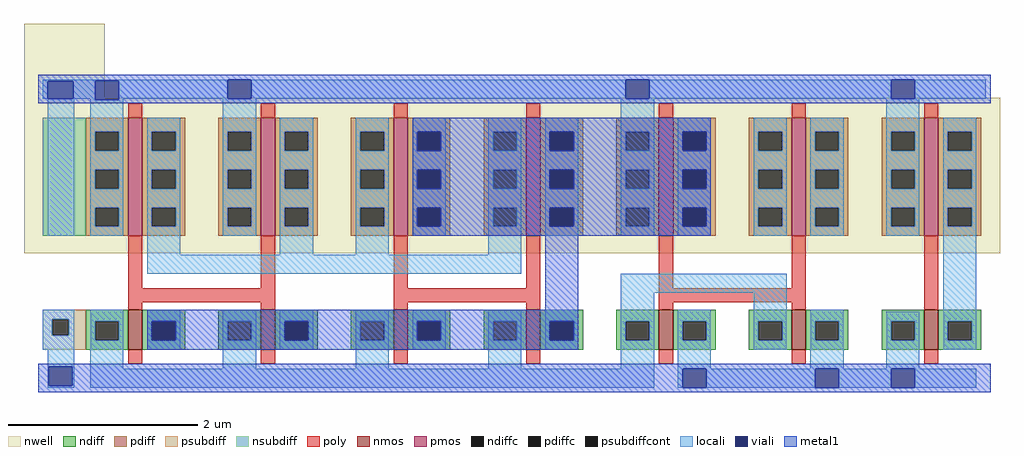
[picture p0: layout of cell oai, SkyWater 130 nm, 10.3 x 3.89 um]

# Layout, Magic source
magic
tech sky130A
<< nwell >>
rect -110 281 -25 359
rect -110 117 920 281
<< nmos >>
rect 0 15 15 57
rect 140 15 155 57
rect 280 15 295 57
rect 420 15 435 57
rect 560 15 575 57
rect 700 15 715 57
rect 840 15 855 57
<< pmos >>
rect 0 135 15 260
rect 140 135 155 260
rect 280 135 295 260
rect 420 135 435 260
rect 560 135 575 260
rect 700 135 715 260
rect 840 135 855 260
<< ndiff >>
rect -45 45 0 57
rect -45 25 -35 45
rect -10 25 0 45
rect -45 15 0 25
rect 15 45 60 57
rect 15 25 25 45
rect 50 25 60 45
rect 15 15 60 25
rect 95 45 140 57
rect 95 25 105 45
rect 130 25 140 45
rect 95 15 140 25
rect 155 45 200 57
rect 155 25 165 45
rect 190 25 200 45
rect 155 15 200 25
rect 235 45 280 57
rect 235 25 245 45
rect 270 25 280 45
rect 235 15 280 25
rect 295 45 340 57
rect 295 25 305 45
rect 330 25 340 45
rect 295 15 340 25
rect 375 45 420 57
rect 375 25 385 45
rect 410 25 420 45
rect 375 15 420 25
rect 435 45 480 57
rect 435 25 445 45
rect 470 25 480 45
rect 435 15 480 25
rect 515 45 560 57
rect 515 25 525 45
rect 550 25 560 45
rect 515 15 560 25
rect 575 45 620 57
rect 575 25 585 45
rect 610 25 620 45
rect 575 15 620 25
rect 655 45 700 57
rect 655 25 665 45
rect 690 25 700 45
rect 655 15 700 25
rect 715 45 760 57
rect 715 25 725 45
rect 750 25 760 45
rect 715 15 760 25
rect 795 45 840 57
rect 795 25 805 45
rect 830 25 840 45
rect 795 15 840 25
rect 855 45 900 57
rect 855 25 865 45
rect 890 25 900 45
rect 855 15 900 25
<< pdiff >>
rect -45 245 0 260
rect -45 225 -35 245
rect -10 225 0 245
rect -45 205 0 225
rect -45 185 -35 205
rect -10 185 0 205
rect -45 165 0 185
rect -45 145 -35 165
rect -10 145 0 165
rect -45 135 0 145
rect 15 245 60 260
rect 15 225 25 245
rect 50 225 60 245
rect 15 205 60 225
rect 15 185 25 205
rect 50 185 60 205
rect 15 165 60 185
rect 15 145 25 165
rect 50 145 60 165
rect 15 135 60 145
rect 95 245 140 260
rect 95 225 105 245
rect 130 225 140 245
rect 95 205 140 225
rect 95 185 105 205
rect 130 185 140 205
rect 95 165 140 185
rect 95 145 105 165
rect 130 145 140 165
rect 95 135 140 145
rect 155 245 200 260
rect 155 225 165 245
rect 190 225 200 245
rect 155 205 200 225
rect 155 185 165 205
rect 190 185 200 205
rect 155 165 200 185
rect 155 145 165 165
rect 190 145 200 165
rect 155 135 200 145
rect 235 245 280 260
rect 235 225 245 245
rect 270 225 280 245
rect 235 205 280 225
rect 235 185 245 205
rect 270 185 280 205
rect 235 165 280 185
rect 235 145 245 165
rect 270 145 280 165
rect 235 135 280 145
rect 295 245 340 260
rect 295 225 305 245
rect 330 225 340 245
rect 295 205 340 225
rect 295 185 305 205
rect 330 185 340 205
rect 295 165 340 185
rect 295 145 305 165
rect 330 145 340 165
rect 295 135 340 145
rect 375 245 420 260
rect 375 225 385 245
rect 410 225 420 245
rect 375 205 420 225
rect 375 185 385 205
rect 410 185 420 205
rect 375 165 420 185
rect 375 145 385 165
rect 410 145 420 165
rect 375 135 420 145
rect 435 245 480 260
rect 435 225 445 245
rect 470 225 480 245
rect 435 205 480 225
rect 435 185 445 205
rect 470 185 480 205
rect 435 165 480 185
rect 435 145 445 165
rect 470 145 480 165
rect 435 135 480 145
rect 515 245 560 260
rect 515 225 525 245
rect 550 225 560 245
rect 515 205 560 225
rect 515 185 525 205
rect 550 185 560 205
rect 515 165 560 185
rect 515 145 525 165
rect 550 145 560 165
rect 515 135 560 145
rect 575 245 620 260
rect 575 225 585 245
rect 610 225 620 245
rect 575 205 620 225
rect 575 185 585 205
rect 610 185 620 205
rect 575 165 620 185
rect 575 145 585 165
rect 610 145 620 165
rect 575 135 620 145
rect 655 245 700 260
rect 655 225 665 245
rect 690 225 700 245
rect 655 205 700 225
rect 655 185 665 205
rect 690 185 700 205
rect 655 165 700 185
rect 655 145 665 165
rect 690 145 700 165
rect 655 135 700 145
rect 715 245 760 260
rect 715 225 725 245
rect 750 225 760 245
rect 715 205 760 225
rect 715 185 725 205
rect 750 185 760 205
rect 715 165 760 185
rect 715 145 725 165
rect 750 145 760 165
rect 715 135 760 145
rect 795 245 840 260
rect 795 225 805 245
rect 830 225 840 245
rect 795 205 840 225
rect 795 185 805 205
rect 830 185 840 205
rect 795 165 840 185
rect 795 145 805 165
rect 830 145 840 165
rect 795 135 840 145
rect 855 245 900 260
rect 855 225 865 245
rect 890 225 900 245
rect 855 205 900 225
rect 855 185 865 205
rect 890 185 900 205
rect 855 165 900 185
rect 855 145 865 165
rect 890 145 900 165
rect 855 135 900 145
<< ndiffc >>
rect -35 25 -10 45
rect 25 25 50 45
rect 105 25 130 45
rect 165 25 190 45
rect 245 25 270 45
rect 305 25 330 45
rect 385 25 410 45
rect 445 25 470 45
rect 525 25 550 45
rect 585 25 610 45
rect 665 25 690 45
rect 725 25 750 45
rect 805 25 830 45
rect 865 25 890 45
<< pdiffc >>
rect -35 225 -10 245
rect -35 185 -10 205
rect -35 145 -10 165
rect 25 225 50 245
rect 25 185 50 205
rect 25 145 50 165
rect 105 225 130 245
rect 105 185 130 205
rect 105 145 130 165
rect 165 225 190 245
rect 165 185 190 205
rect 165 145 190 165
rect 245 225 270 245
rect 245 185 270 205
rect 245 145 270 165
rect 305 225 330 245
rect 305 185 330 205
rect 305 145 330 165
rect 385 225 410 245
rect 385 185 410 205
rect 385 145 410 165
rect 445 225 470 245
rect 445 185 470 205
rect 445 145 470 165
rect 525 225 550 245
rect 525 185 550 205
rect 525 145 550 165
rect 585 225 610 245
rect 585 185 610 205
rect 585 145 610 165
rect 665 225 690 245
rect 665 185 690 205
rect 665 145 690 165
rect 725 225 750 245
rect 725 185 750 205
rect 725 145 750 165
rect 805 225 830 245
rect 805 185 830 205
rect 805 145 830 165
rect 865 225 890 245
rect 865 185 890 205
rect 865 145 890 165
<< psubdiff >>
rect -90 47 -45 57
rect -90 30 -80 47
rect -63 30 -45 47
rect -90 15 -45 30
<< nsubdiff >>
rect -90 135 -45 260
<< psubdiffcont >>
rect -80 30 -63 47
<< poly >>
rect 0 260 15 275
rect 140 260 155 275
rect 280 260 295 275
rect 420 260 435 275
rect 560 260 575 275
rect 700 260 715 275
rect 840 260 855 275
rect 0 80 15 135
rect 140 80 155 135
rect 0 65 155 80
rect 0 57 15 65
rect 140 57 155 65
rect 280 80 295 135
rect 420 80 435 135
rect 280 65 435 80
rect 280 57 295 65
rect 420 57 435 65
rect 560 80 575 135
rect 700 80 715 135
rect 560 65 715 80
rect 560 57 575 65
rect 700 57 715 65
rect 840 57 855 135
rect 0 0 15 15
rect 140 0 155 15
rect 280 0 295 15
rect 420 0 435 15
rect 560 0 575 15
rect 700 0 715 15
rect 840 0 855 15
<< locali >>
rect -90 299 105 300
rect -90 298 -35 299
rect -90 280 -85 298
rect -58 280 -35 298
rect -85 135 -57 280
rect -40 279 -35 280
rect -10 280 105 299
rect 130 280 525 300
rect 550 280 805 300
rect 830 280 905 300
rect -10 279 -5 280
rect -40 245 -5 279
rect -40 225 -35 245
rect -10 225 -5 245
rect -40 205 -5 225
rect -40 185 -35 205
rect -10 185 -5 205
rect -40 165 -5 185
rect -40 145 -35 165
rect -10 145 -5 165
rect -40 135 -5 145
rect 20 245 55 260
rect 20 225 25 245
rect 50 225 55 245
rect 20 205 55 225
rect 20 185 25 205
rect 50 185 55 205
rect 20 165 55 185
rect 20 145 25 165
rect 50 145 55 165
rect 20 115 55 145
rect 100 245 135 280
rect 100 225 105 245
rect 130 225 135 245
rect 100 205 135 225
rect 100 185 105 205
rect 130 185 135 205
rect 100 165 135 185
rect 100 145 105 165
rect 130 145 135 165
rect 100 135 135 145
rect 160 245 195 260
rect 160 225 165 245
rect 190 225 195 245
rect 160 205 195 225
rect 160 185 165 205
rect 190 185 195 205
rect 160 165 195 185
rect 160 145 165 165
rect 190 145 195 165
rect 160 115 195 145
rect 240 245 275 260
rect 240 225 245 245
rect 270 225 275 245
rect 240 205 275 225
rect 240 185 245 205
rect 270 185 275 205
rect 240 165 275 185
rect 240 145 245 165
rect 270 145 275 165
rect 240 115 275 145
rect 300 245 335 260
rect 300 225 305 245
rect 330 225 335 245
rect 300 205 335 225
rect 300 185 305 205
rect 330 185 335 205
rect 300 165 335 185
rect 300 145 305 165
rect 330 145 335 165
rect 300 135 335 145
rect 380 245 415 260
rect 380 225 385 245
rect 410 225 415 245
rect 380 205 415 225
rect 380 185 385 205
rect 410 185 415 205
rect 380 165 415 185
rect 380 145 385 165
rect 410 145 415 165
rect 380 115 415 145
rect 440 245 475 260
rect 440 225 445 245
rect 470 225 475 245
rect 440 205 475 225
rect 440 185 445 205
rect 470 185 475 205
rect 440 165 475 185
rect 440 145 445 165
rect 470 145 475 165
rect 440 135 475 145
rect 520 245 555 280
rect 520 225 525 245
rect 550 225 555 245
rect 520 205 555 225
rect 520 185 525 205
rect 550 185 555 205
rect 520 165 555 185
rect 520 145 525 165
rect 550 145 555 165
rect 520 135 555 145
rect 580 245 615 260
rect 580 225 585 245
rect 610 225 615 245
rect 580 205 615 225
rect 580 185 585 205
rect 610 185 615 205
rect 580 165 615 185
rect 580 145 585 165
rect 610 145 615 165
rect 580 135 615 145
rect 660 245 695 260
rect 660 225 665 245
rect 690 225 695 245
rect 660 205 695 225
rect 660 185 665 205
rect 690 185 695 205
rect 660 165 695 185
rect 660 145 665 165
rect 690 145 695 165
rect 660 135 695 145
rect 720 245 755 260
rect 720 225 725 245
rect 750 225 755 245
rect 720 205 755 225
rect 720 185 725 205
rect 750 185 755 205
rect 720 165 755 185
rect 720 145 725 165
rect 750 145 755 165
rect 720 135 755 145
rect 800 245 835 280
rect 800 225 805 245
rect 830 225 835 245
rect 800 205 835 225
rect 800 185 805 205
rect 830 185 835 205
rect 800 165 835 185
rect 800 145 805 165
rect 830 145 835 165
rect 800 135 835 145
rect 860 245 895 260
rect 860 225 865 245
rect 890 225 895 245
rect 860 205 895 225
rect 860 185 865 205
rect 890 185 895 205
rect 860 165 895 185
rect 860 145 865 165
rect 890 145 895 165
rect 20 95 415 115
rect 520 75 695 95
rect -90 47 -57 57
rect -90 30 -80 47
rect -63 30 -57 47
rect -90 15 -57 30
rect -85 -3 -57 15
rect -85 -23 -84 -3
rect -59 -23 -57 -3
rect -85 -25 -57 -23
rect -40 45 -5 57
rect -40 25 -35 45
rect -10 25 -5 45
rect -40 -5 -5 25
rect 20 45 55 57
rect 20 25 25 45
rect 50 25 55 45
rect 20 15 55 25
rect 100 45 135 57
rect 100 25 105 45
rect 130 25 135 45
rect 100 -5 135 25
rect 160 45 195 57
rect 160 25 165 45
rect 190 25 195 45
rect 160 15 195 25
rect 240 45 275 57
rect 240 25 245 45
rect 270 25 275 45
rect 240 -5 275 25
rect 300 45 335 57
rect 300 25 305 45
rect 330 25 335 45
rect 300 15 335 25
rect 380 45 415 57
rect 380 25 385 45
rect 410 25 415 45
rect 380 -5 415 25
rect 440 45 475 57
rect 440 25 445 45
rect 470 25 475 45
rect 440 15 475 25
rect 520 45 555 75
rect 520 25 525 45
rect 550 25 555 45
rect 520 -5 555 25
rect -40 -25 555 -5
rect 580 45 615 57
rect 580 25 585 45
rect 610 25 615 45
rect 580 -5 615 25
rect 660 45 695 75
rect 660 25 665 45
rect 690 25 695 45
rect 660 15 695 25
rect 720 45 755 57
rect 720 25 725 45
rect 750 25 755 45
rect 720 -5 755 25
rect 800 45 835 55
rect 800 25 805 45
rect 830 25 835 45
rect 800 -5 835 25
rect 860 45 895 145
rect 860 25 865 45
rect 890 25 895 45
rect 860 15 895 25
rect 580 -25 585 -5
rect 610 -25 725 -5
rect 750 -25 805 -5
rect 830 -25 895 -5
<< viali >>
rect -85 280 -58 298
rect -35 279 -10 299
rect 105 280 130 300
rect 525 280 550 300
rect 805 280 830 300
rect 305 225 330 245
rect 305 185 330 205
rect 305 145 330 165
rect 445 225 470 245
rect 445 185 470 205
rect 445 145 470 165
rect 585 225 610 245
rect 585 185 610 205
rect 585 145 610 165
rect -84 -23 -59 -3
rect 25 25 50 45
rect 165 25 190 45
rect 305 25 330 45
rect 445 25 470 45
rect 585 -25 610 -5
rect 725 -25 750 -5
rect 805 -25 830 -5
<< metal1 >>
rect -95 300 910 305
rect -95 299 105 300
rect -95 298 -35 299
rect -95 280 -85 298
rect -58 280 -35 298
rect -95 279 -35 280
rect -10 280 105 299
rect 130 280 525 300
rect 550 280 805 300
rect 830 280 910 300
rect -10 279 910 280
rect -95 275 910 279
rect 300 245 615 260
rect 300 225 305 245
rect 330 225 445 245
rect 470 225 585 245
rect 610 225 615 245
rect 300 205 615 225
rect 300 185 305 205
rect 330 185 445 205
rect 470 185 585 205
rect 610 185 615 205
rect 300 165 615 185
rect 300 145 305 165
rect 330 145 445 165
rect 470 145 585 165
rect 610 145 615 165
rect 300 135 615 145
rect 440 57 475 135
rect 20 45 475 57
rect 20 25 25 45
rect 50 25 165 45
rect 190 25 305 45
rect 330 25 445 45
rect 470 25 475 45
rect 20 15 475 25
rect -95 -3 910 0
rect -95 -23 -84 -3
rect -59 -5 910 -3
rect -59 -23 585 -5
rect -95 -25 585 -23
rect 610 -25 725 -5
rect 750 -25 805 -5
rect 830 -25 910 -5
rect -95 -30 910 -25
<< end >>
